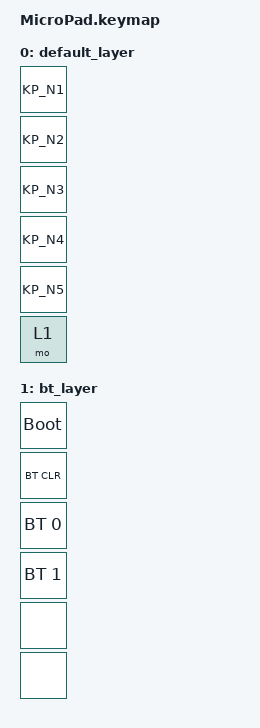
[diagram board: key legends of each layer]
#include <behaviors.dtsi>
#include <dt-bindings/zmk/keys.h>
#include <dt-bindings/zmk/bt.h>

/ {
    keymap{
        compatible = "zmk,keymap";
    

    default_layer{
        bindings = <
            &KP_N1
            &KP_N2
            &KP_N3
            &KP_N4
            &KP_N5
            &mo 1
        >;
     };

    bt_layer{
        bindings = <
            &bootloader
            &bt BT_CLR
            &bt BT_SEL 0
            &bt BT_SEL 1
            &none
            &none
        >;
     };
    };
};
